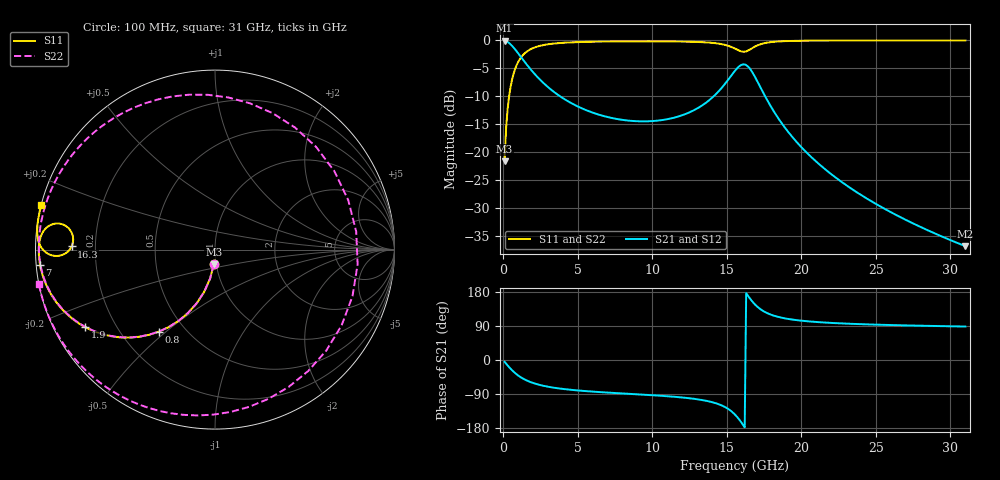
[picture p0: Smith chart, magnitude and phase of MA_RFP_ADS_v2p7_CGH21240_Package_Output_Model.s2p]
! Package Model of CGH21240 Transistor Output
! Port 1 is Package Lead
! Port 2 is DUT
!AWR Design Environment (4229) Tue Oct 21 15:56:06 2008
!freq-unit  param-type  data-format  keyword  impedance-ohms
# GHz  S  MA  R  50
!Freq  MagS11  AngS11  MagS21  AngS21  MagS12  AngS12  MagS22  AngS22
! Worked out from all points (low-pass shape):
!   310 points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, 100 MHz to 31 GHz, reference 50 ohm
!   highest |S21| = -0.03 dB at 100 MHz (marker M1); lowest = -36.9 dB at 31 GHz (marker M2)
!   |S21| within 3 dB of the highest: start of sweep to 1.214 GHz
!   lowest |S11| = -21.6 dB at 100 MHz (marker M3), VSWR 1.18, Z = 48.6 - j8.09 ohm
!   |S11| at or under -10 dB: start of sweep to 401.1 MHz
!   |S22| runs from -21.6 to 0.0 dB; largest |S21 - S12| = 0
!   S11 on the Smith chart (normalised r, x): 100 MHz: 0.97, -0.16; 800 MHz: 0.36, -0.47; 1.9 GHz: 0.09, -0.27; 7 GHz: 0.01, -0.04; 16.3 GHz: 0.11, +0.01; 31 GHz: 0.00, +0.13
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0.1  0.0829 -94.8  0.9966 -4.9  0.9966 -4.9  0.0829 -94.9
0.2  0.1641 -99.6  0.9864 -9.6  0.9864 -9.6  0.1641 -99.7
0.3  0.2421 -104.3  0.9703 -14.3  0.9703 -14.3  0.2421 -104.3
0.8  0.5531 -124.3  0.8331 -34.4  0.8331 -34.4  0.5531 -124.4
1.9  0.8417 -149.1  0.5399 -59.2  0.5399 -59.2  0.8417 -149.3
3.2  0.9314 -161.7  0.364 -71.9  0.364 -71.9  0.9314 -162.1
5.3  0.9693 -170.8  0.2459 -81.3  0.2459 -81.3  0.9693 -171.8
7  0.9785 -175.1  0.2062 -86.0  0.2062 -86.0  0.9785 -176.9
10.4  0.9815 179.1  0.1916 -93.9  0.1916 -93.9  0.9815 173.1
12.6  0.9731 175.7  0.2303 -101.4  0.2303 -101.4  0.9731 161.5
14.1  0.9493 172.8  0.3143 -112.2  0.3143 -112.2  0.9493 142.8
14.9  0.9113 171.0  0.4118 -124.5  0.4118 -124.5  0.9113 119.9
15.6  0.8382 171.1  0.5454 -146.1  0.5454 -146.1  0.8382 76.6
15.9  0.8029 173.4  0.5961 -160.6  0.5961 -160.6  0.8029 45.4
16.3  0.7988 178.7  0.6016 176.4  0.6016 176.4  0.7988 -5.9
16.7  0.8528 -178.0  0.5222 154.8  0.5222 154.8  0.8528 -52.5
17.2  0.9195 -178.2  0.3931 135.6  0.3931 135.6  0.9195 -90.5
17.7  0.9558 -179.8  0.2939 123.9  0.2939 123.9  0.9558 -112.5
18.4  0.9786 178.2  0.2057 114.2  0.2057 114.2  0.9786 -129.8
20.7  0.996 174.2  0.08934 101.2  0.08934 101.2  0.996 -151.8
25.9  0.9996 169.2  0.02944 92.3  0.02944 92.3  0.9996 -164.6
31  0.9999 165.4  0.01436 88.3  0.01436 88.3  0.9999 -168.8
